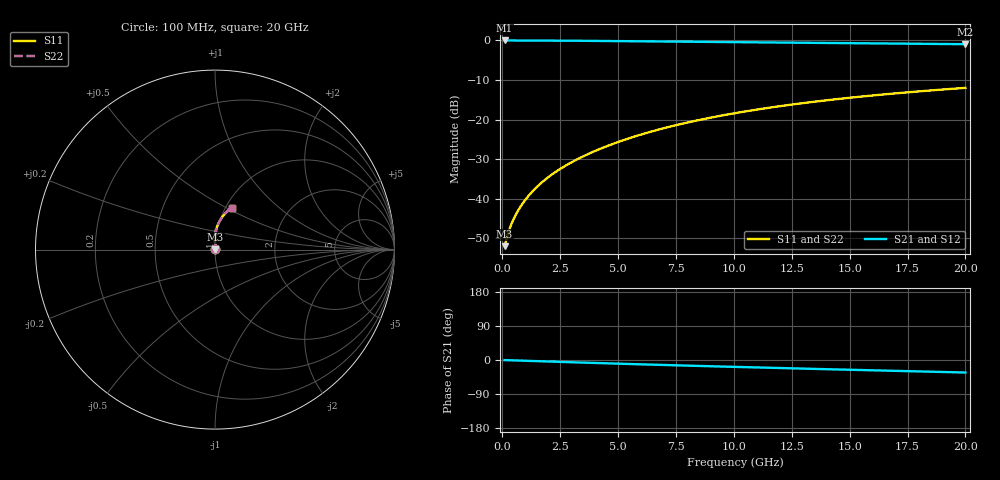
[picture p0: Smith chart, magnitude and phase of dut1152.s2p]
! Touchstone file exported from HFSS 2024.1.0
!  File:  C:/UserFiles/LocalFiles/RDL_TSV_Batchsim/temp_RDL_top_1152_1780048209.aedt
!  Generated:  05:52:13 PM May 29, 2026
!  Design:  RDL_top
!  Project:  temp_RDL_top_1152_1780048209
!  Setup:  Setup1
!  Solution:  Sweep
! Variables:
!  dtsv = 10.80580581um
!  hbump = 3um
!  htsv = 65.98um
!  ldown = 100um
!  lrdl = 506.64um
!  p = 40
!  p1 = 45.72um
!  rhole = 1um
!  t = 450um
!  tdown = 3.915915916um
!  trdl = 3.33um
!  wdown = 15.38538539um
!  wrdl = 27.35um
# GHz S MA R 50.000000
! Terminal data exported
! Port[1] = Box2_T1
! Port[2] = Box2_T2
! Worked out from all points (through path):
!   200 points, 100 MHz to 20 GHz, reference 50 ohm
!   highest |S21| = -0.02 dB at 100 MHz (marker M1); lowest = -1.0 dB at 20 GHz (marker M2)
!   group delay of S21, straight-line fit = 4.52 ps
!   lowest |S11| = -52.0 dB at 100 MHz (marker M3), VSWR 1.01, Z = 50.2 + j0.116 ohm
!   |S11| at or under -10 dB: start of sweep to end of sweep
!   |S22| runs from -52.0 to -12.0 dB; largest |S21 - S12| = 4.5e-15
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0.1  0.00252 27.2  0.9977 -0.2  0.9977 -0.2  0.00252 27.2
! Gamma 0 0 0 0
! Port Impedance 50 0 50 0
0.2  0.003255 42.6  0.9976 -0.4  0.9976 -0.4  0.003255 42.6
0.3  0.004052 51.1  0.9973 -0.6  0.9973 -0.6  0.004052 51.1
0.4  0.004842 56.9  0.9971 -0.8  0.9971 -0.8  0.004842 56.9
0.5  0.005628 61.3  0.997 -1.0  0.997 -1.0  0.005628 61.3
0.8  0.008051 70.3  0.9965 -1.6  0.9965 -1.6  0.00805 70.3
1  0.009737 74.3  0.9961 -2.0  0.9961 -2.0  0.009737 74.3
1.2  0.01148 77.3  0.9957 -2.4  0.9957 -2.4  0.01148 77.3
1.7  0.01601 82.4  0.9945 -3.4  0.9945 -3.4  0.01601 82.4
2.2  0.0208 85.6  0.993 -4.4  0.993 -4.4  0.0208 85.6
2.8  0.02687 88.1  0.9907 -5.6  0.9907 -5.6  0.02687 88.1
3.5  0.03439 89.9  0.9876 -6.9  0.9876 -6.9  0.0344 89.9
4.2  0.04239 90.9  0.984 -8.2  0.984 -8.2  0.0424 90.9
5  0.05205 91.3  0.9796 -9.7  0.9796 -9.7  0.05207 91.4
5.9  0.0635 91.2  0.9743 -11.3  0.9743 -11.3  0.06352 91.2
6.8  0.07542 90.5  0.9688 -12.9  0.9688 -12.9  0.07546 90.5
8.4  0.09738 88.5  0.9591 -15.5  0.9591 -15.5  0.09744 88.6
10.1  0.1212 85.8  0.9489 -18.3  0.9489 -18.3  0.1213 85.8
11.7  0.1436 83.0  0.9397 -20.8  0.9397 -20.8  0.1437 83.0
13.4  0.167 79.9  0.9302 -23.4  0.9302 -23.4  0.1672 79.9
16.7  0.2107 74.0  0.9125 -28.3  0.9125 -28.3  0.2109 74.0
20  0.2514 68.3  0.8953 -33.1  0.8953 -33.1  0.2516 68.3
